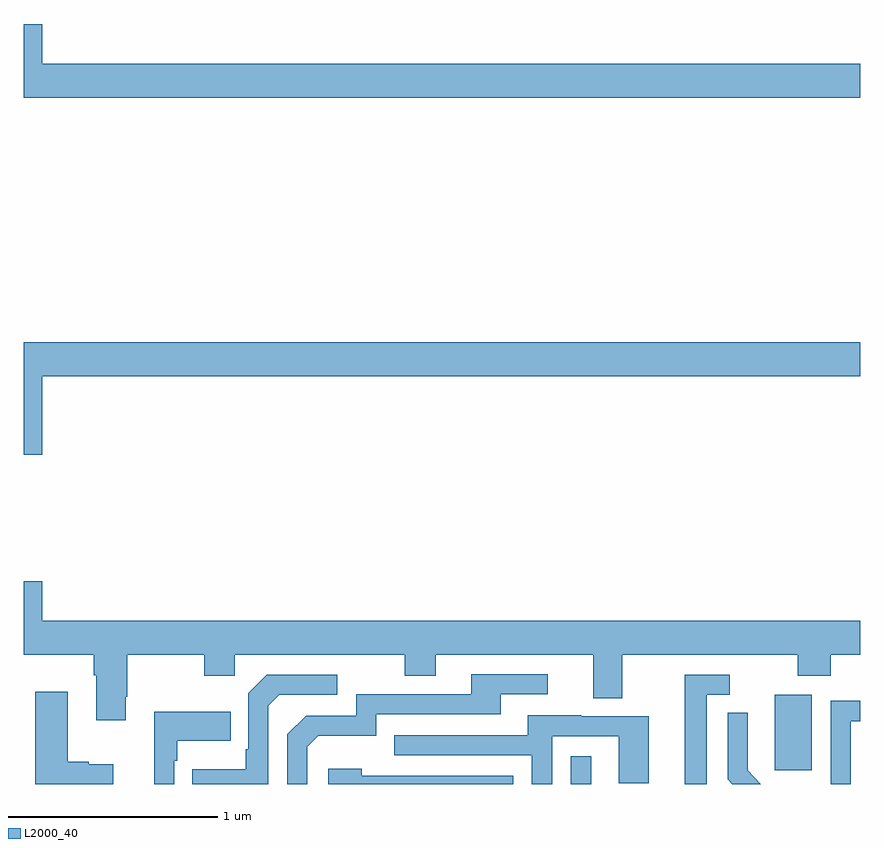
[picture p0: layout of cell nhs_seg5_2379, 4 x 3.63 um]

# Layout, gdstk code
import gdstk
lib = gdstk.Library(unit=1e-6, precision=1e-09)
def R(c, l, rs):  # rectangles x0, y0, x1, y1
    for r in rs: c.add(gdstk.rectangle(r[:2], r[2:], *l))
def P(c, l, *ps):  # polygons
    for p in ps: c.add(gdstk.Polygon(p, *l))
L2000_40 = (2000, 40)

nhs_seg5_2379 = lib.new_cell('nhs_seg5_2379')
R(nhs_seg5_2379, L2000_40, [(251.616,866.799,251.713,866.932), (252.59,866.865,252.769,867.226)])
P(nhs_seg5_2379, L2000_40, [(253,870.244),(249.088,870.244),(249.088,870.433),(249,870.433),(249,870.08),(253,870.08)],
  [(249.088,868.748),(253,868.748),(253,868.912),(249,868.912),(249,868.374),(249.088,868.374)],
  [(249.487,867.217),(249.495,867.217),(249.495,867.416),(249.862,867.416),(249.862,867.317),(250.008,867.317),(250.008,867.416),(250.822,867.416),(250.822,867.317),(250.969,867.317),(250.969,867.416),(251.723,867.416),(251.723,867.208),(251.863,867.208),(251.863,867.416),(252.7,867.416),(252.7,867.317),(252.86,867.317),(252.86,867.416),(253,867.416),(253,867.58),(249.088,867.58),(249.088,867.769),(249,867.769),(249,867.416),(249.335,867.416),(249.335,867.32),(249.347,867.32),(249.347,867.105),(249.487,867.105)],
  [(250.356,866.976),(250.409,867.029),(250.686,867.029),(250.686,867.132),(251.281,867.132),(251.281,867.228),(251.506,867.228),(251.506,867.324),(251.141,867.324),(251.141,867.228),(250.59,867.228),(250.59,867.126),(250.35,867.126),(250.26,867.036),(250.26,866.799),(250.356,866.799)],
  [(252.265,867.225),(252.376,867.225),(252.376,867.321),(252.161,867.321),(252.161,866.799),(252.265,866.799)],
  [(250.17,867.174),(250.221,867.225),(250.498,867.225),(250.498,867.321),(250.161,867.321),(250.074,867.234),(250.074,866.965),(250.062,866.965),(250.062,866.869),(249.805,866.869),(249.805,866.799),(250.17,866.799)],
  [(249.427,866.893),(249.311,866.893),(249.311,866.906),(249.211,866.906),(249.211,867.241),(249.056,867.241),(249.056,866.799),(249.427,866.799)],
  [(252.954,867.099),(253,867.099),(253,867.198),(252.858,867.198),(252.858,866.799),(252.954,866.799)],
  [(249.72,866.909),(249.733,866.909),(249.733,867.005),(249.989,867.005),(249.989,867.145),(249.623,867.145),(249.623,866.799),(249.72,866.799)],
  [(252.461,866.864),(252.461,866.986),(252.462,866.986),(252.462,867.14),(252.366,867.14),(252.366,866.822),(252.389,866.799),(252.525,866.799)],
  [(251.526,867.027),(251.844,867.027),(251.844,866.803),(251.989,866.803),(251.989,867.123),(251.665,867.123),(251.665,867.127),(251.411,867.127),(251.411,867.033),(250.771,867.033),(250.771,866.937),(251.43,866.937),(251.43,866.799),(251.526,866.799)],
  [(251.34,866.838),(250.616,866.838),(250.616,866.872),(250.455,866.872),(250.455,866.799),(251.34,866.799)])

lib.write_gds('nhs_seg5_2379.gds')
